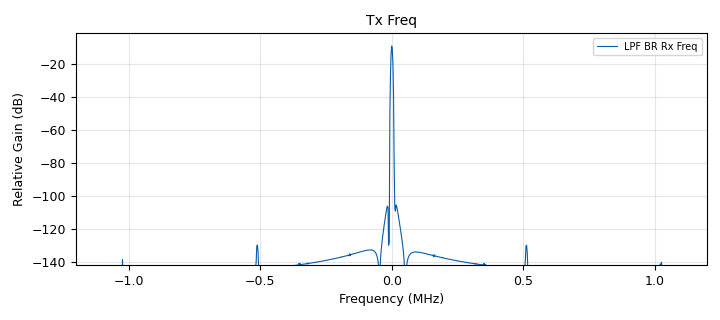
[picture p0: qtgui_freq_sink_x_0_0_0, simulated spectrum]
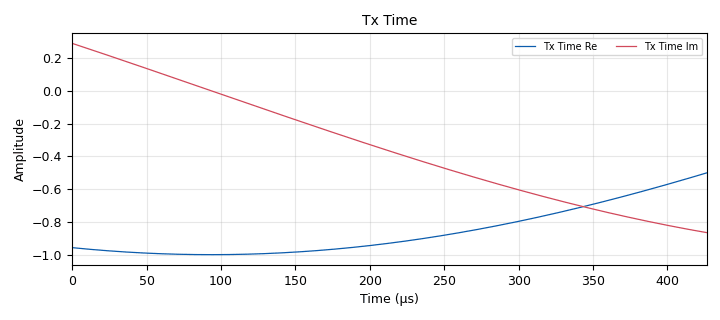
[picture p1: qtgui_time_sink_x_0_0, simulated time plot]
options:
  parameters:
    author: '"mzemlo.pl@gmail.com"'
    comment: Code on https://github.com/yabool2001/gnuradio
    copyright: '"mzemlo.pl@gmail.com"'
    generate_options: qt_gui
    id: Cos_2_Audio_001
    output_language: python
    title: '"Cos_2_Audio_001"'
  states: {}

blocks:
- name: audio_gain
  id: variable_qtgui_range
  parameters:
    label: '"audio_gain"'
    start: '0'
    step: '1'
    stop: '100'
    value: '1'
  states: {}
- name: f
  id: variable
  parameters:
    value: '3500000000'
  states: {}
- name: rx_gain
  id: variable_qtgui_range
  parameters:
    label: '"rx_gain"'
    start: '0'
    step: '1'
    stop: '70'
    value: '64'
  states: {}
- name: samp_rate
  id: variable
  parameters:
    value: 2.4e6
  states: {}
- name: tone_f
  id: variable_qtgui_range
  parameters:
    start: '-2e3'
    step: '100'
    stop: 2e3
    value: '500'
  states: {}
- name: tx_attenuation
  id: variable_qtgui_range
  parameters:
    start: '0'
    step: '1'
    stop: '100'
    value: '40'
  states: {}
- name: analog_sig_source_x_0
  id: analog_sig_source_x
  parameters:
    amp: '1'
    freq: tone_f
    offset: '0'
    phase: '0'
    samp_rate: samp_rate
    type: complex
    waveform: analog.GR_COS_WAVE
  states: {}
- name: audio_sink_0
  id: audio_sink
  parameters:
    samp_rate: '48000'
  states: {}
- name: blocks_complex_to_real_0
  id: blocks_complex_to_real
  parameters: {}
  states: {}
- name: blocks_multiply_const_vxx_0
  id: blocks_multiply_const_vxx
  parameters:
    const: audio_gain
    type: complex
  states: {}
- name: qtgui_freq_sink_x_0_0_0
  id: qtgui_freq_sink_x
  parameters:
    autoscale: 'True'
    bw: samp_rate
    fc: '0'
    fftsize: '1024'
    label1: LPF BR Rx Freq
    name: '"Tx Freq"'
    type: complex
  states: {}
- name: qtgui_time_sink_x_0_0
  id: qtgui_time_sink_x
  parameters:
    autoscale: 'True'
    label1: Tx Time Re
    label2: Tx Time Im
    name: '"Tx Time"'
    size: '1024'
    srate: samp_rate
    type: complex
  states: {}

connections:
- [analog_sig_source_x_0, '0', blocks_multiply_const_vxx_0, '0']
- [analog_sig_source_x_0, '0', qtgui_freq_sink_x_0_0_0, '0']
- [analog_sig_source_x_0, '0', qtgui_time_sink_x_0_0, '0']
- [blocks_complex_to_real_0, '0', audio_sink_0, '0']
- [blocks_multiply_const_vxx_0, '0', blocks_complex_to_real_0, '0']

metadata:
  file_format: 1
  grc_version: 3.10.9.2
